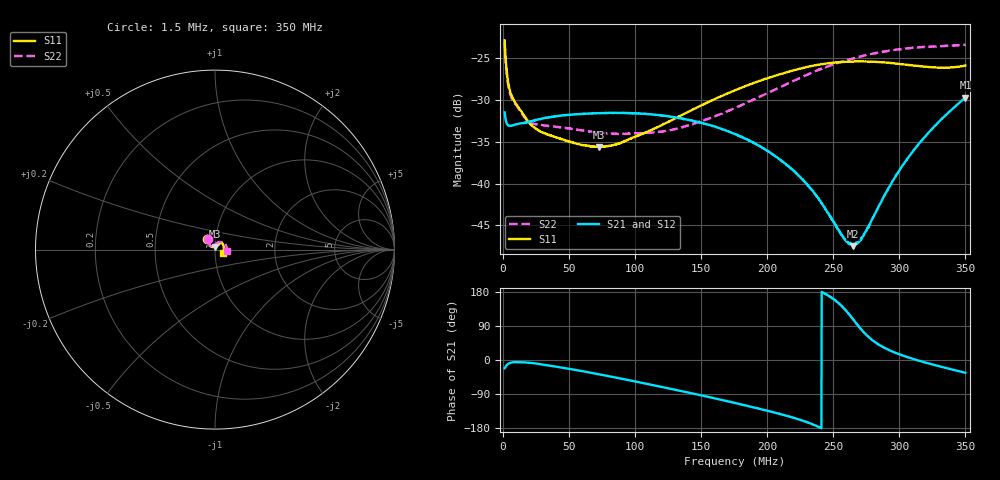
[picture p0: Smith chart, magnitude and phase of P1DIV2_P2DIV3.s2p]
# Hz S RI R 50
! RAW DATA - UNCALIBRATED
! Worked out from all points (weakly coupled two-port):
!   1601 points, 1.5 MHz to 350 MHz, reference 50 ohm
!   highest |S21| = -29.73 dB at 350 MHz (marker M1); lowest = -47.5 dB at 264.8 MHz (marker M2)
!   lowest |S11| = -35.6 dB at 73.16 MHz (marker M3), VSWR 1.03, Z = 49.9 + j1.65 ohm
!   |S11| at or under -10 dB: start of sweep to end of sweep
!   |S22| runs from -34.1 to -23.1 dB; largest |S21 - S12| = 0.0014
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1500000  -0.0435 0.0571  0.0248 -0.00987  0.0247 -0.0103  -0.0403 0.0574
4113750  -0.0297 0.0277  0.022 -0.00398  0.022 -0.00417  -0.0282 0.0267
6074062  -0.0269 0.0219  0.022 -0.00279  0.0219 -0.00296  -0.0261 0.021
9341250  -0.0244 0.0185  0.0224 -0.0022  0.0221 -0.00218  -0.024 0.0181
1.805375e7  -0.0183 0.016  0.0231 -0.00262  0.0231 -0.00266  -0.0186 0.0154
2.894438e7  -0.0146 0.0142  0.0239 -0.00485  0.0236 -0.00471  -0.0168 0.015
5.965594e7  -0.00556 0.0161  0.0228 -0.0127  0.0228 -0.0125  -0.0114 0.0174
7.316031e7  -0.0012 0.0165  0.0208 -0.0162  0.0207 -0.016  -0.00956 0.0178
8.906062e7  0.00333 0.0171  0.0174 -0.0198  0.0175 -0.0195  -0.00827 0.018
1.178119e8  0.0106 0.0192  0.00904 -0.024  0.00932 -0.0235  -0.00647 0.0193
1.487412e8  0.0166 0.0237  -0.00086 -0.0233  -0.00036 -0.0231  -0.00432 0.023
1.7575e8  0.0215 0.0291  -0.00787 -0.0181  -0.00727 -0.0182  0.000288 0.0284
2.053725e8  0.0272 0.0346  -0.0111 -0.00976  -0.0106 -0.00999  0.00895 0.0352
2.195303e8  0.0302 0.0367  -0.0106 -0.00568  -0.0103 -0.00593  0.0142 0.0384
2.339059e8  0.0336 0.0378  -0.00901 -0.00174  -0.00875 -0.00197  0.0207 0.0412
2.576475e8  0.0393 0.0362  -0.00355 0.00324  -0.00358 0.0031  0.0326 0.0429
2.648353e8  0.041 0.0348  -0.00133 0.00401  -0.00144 0.00404  0.0362 0.0427
2.722409e8  0.0426 0.0329  0.00112 0.00469  0.00105 0.00472  0.0401 0.0419
2.920619e8  0.0463 0.0253  0.00844 0.00425  0.00834 0.00454  0.0498 0.0374
3.031703e8  0.0479 0.0195  0.0128 0.00252  0.0128 0.003  0.0551 0.0328
3.162391e8  0.0491 0.0108  0.0178 -0.000993  0.0179 -0.000347  0.0603 0.0254
3.5e8  0.0469 -0.0196  0.0271 -0.0181  0.028 -0.0171  0.0674 -0.00544
